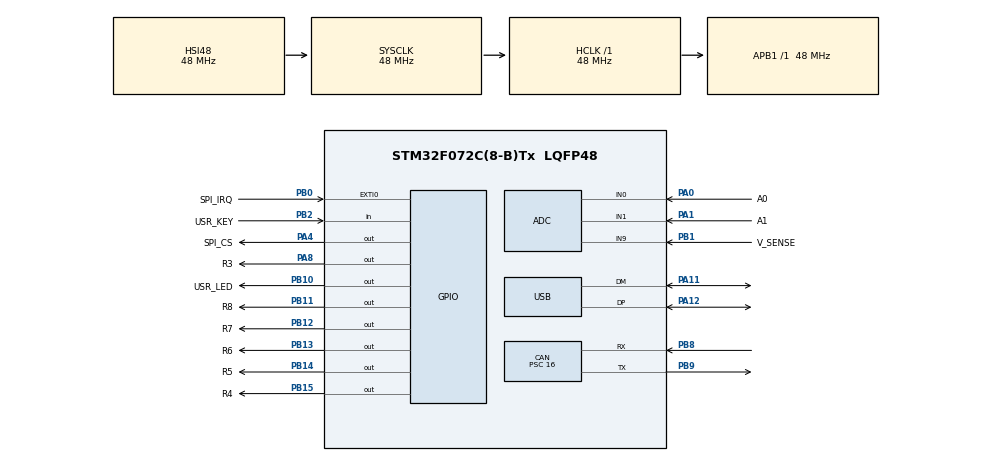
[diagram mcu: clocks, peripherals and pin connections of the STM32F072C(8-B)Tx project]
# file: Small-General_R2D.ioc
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ADC.ContinuousConvMode=DISABLE
CAN.BS1=CAN_BS1_3TQ
CAN.BS2=CAN_BS2_2TQ
CAN.CalculateBaudRate=500000
CAN.CalculateTimeBit=2000
CAN.CalculateTimeQuantum=333.3333333333333
CAN.Mode=CAN_MODE_NORMAL
CAN.Prescaler=16
CAN.TTCM=ENABLE
Mcu.Family=STM32F0
Mcu.Name=STM32F072C(8-B)Tx
Mcu.Package=LQFP48
NVIC.CEC_CAN_IRQn=true\:0\:0\:false\:false\:true\:true\:true\:true
NVIC.USB_IRQn=true\:0\:0\:false\:false\:true\:false\:true\:true
PA0.GPIO_Label=A0
PA0.Mode=IN0
PA0.Signal=ADC_IN0
PA1.GPIO_Label=A1
PA1.Mode=IN1
PA1.Signal=ADC_IN1
PA11.Mode=Device
PA11.Signal=USB_DM
PA12.Mode=Device
PA12.Signal=USB_DP
PA13.Mode=Serial_Wire
PA13.Signal=SYS_SWDIO
PA14.Mode=Serial_Wire
PA14.Signal=SYS_SWCLK
PA4.GPIO_Label=SPI_CS
PA4.GPIO_PuPd=GPIO_PULLUP
PA4.GPIO_Speed=GPIO_SPEED_FREQ_HIGH
PA4.PinState=GPIO_PIN_SET
PA4.Signal=GPIO_Output
PA8.GPIO_Label=R3
PA8.Signal=GPIO_Output
PB0.GPIO_Label=SPI_IRQ
PB0.GPIO_ModeDefaultEXTI=GPIO_MODE_IT_RISING_FALLING
PB0.Signal=GPXTI0
PB1.GPIO_Label=V_SENSE
PB1.Mode=IN9
PB1.Signal=ADC_IN9
PB10.GPIO_Label=USR_LED
PB10.GPIO_ModeDefaultOutputPP=GPIO_MODE_OUTPUT_OD
PB10.GPIO_PuPd=GPIO_NOPULL
PB10.Signal=GPIO_Output
PB11.GPIO_Label=R8
PB11.Signal=GPIO_Output
PB12.GPIO_Label=R7
PB12.Signal=GPIO_Output
PB13.GPIO_Label=R6
PB13.Signal=GPIO_Output
PB14.GPIO_Label=R5
PB14.Signal=GPIO_Output
PB15.GPIO_Label=R4
PB15.Signal=GPIO_Output
PB2.GPIO_Label=USR_KEY
PB2.Signal=GPIO_Input
PB8.Mode=CAN_Activate
PB8.Signal=CAN_RX
PB9.Mode=CAN_Activate
PB9.Signal=CAN_TX
ProjectManager.HeapSize=0x200
ProjectManager.StackSize=0x400
ProjectManager.TargetToolchain=STM32CubeIDE
RCC.AHBFreq_Value=48000000
RCC.APB1Freq_Value=48000000
RCC.APB1TimFreq_Value=48000000
RCC.HCLKFreq_Value=48000000
RCC.SYSCLKFreq_VALUE=48000000
RCC.SYSCLKSource=RCC_SYSCLKSOURCE_HSI48
USB_DEVICE.CLASS_NAME_FS=CDC
USB_DEVICE.MANUFACTURER_STRING=NVF2
USB_DEVICE.PRODUCT_STRING_CDC_FS=Small-General
USB_DEVICE.VirtualMode=Cdc
USB_DEVICE.VirtualModeFS=Cdc_FS
VP_ADC_TempSens_Input.Mode=IN-TempSens
VP_USB_DEVICE_VS_USB_DEVICE_CDC_FS.Mode=CDC_FS
board=custom

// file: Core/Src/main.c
/* USER CODE BEGIN Header */
/**
  ******************************************************************************
  * @file           : main.c
  * @brief          : Main program body
  ******************************************************************************
  * @attention
  *
  * Copyright (c) 2024 STMicroelectronics.
  * All rights reserved.
  *
  * This software is licensed under terms that can be found in the LICENSE file
  * in the root directory of this software component.
  * If no LICENSE file comes with this software, it is provided AS-IS.
  *
  ******************************************************************************
  */
/* USER CODE END Header */
#include "main.h"
#include "usb_device.h"

/* USER CODE BEGIN Includes */

#include  <stdbool.h>
#include "stm32f0xx_hal_can.h"

#include "app_can_impl.h"

/* USER CODE END Includes */

/* USER CODE BEGIN PD */

#define THIS_CAN_ID 		R2DN_DASH_CANID

#define R2D_SW_NC_GPIOPORT	GPIOA
#define R2D_SW_NC_GPIOPIN	13
#define R2D_SW_NO_GPIOPORT	GPIOA
#define R2D_SW_NO_GPIOPIN	12
#define R2D_BTN_NO_GPIOPORT	GPIOA
#define R2D_BTN_NO_GPIOPIN	11

/* USER CODE END PD */

ADC_HandleTypeDef hadc;

CAN_HandleTypeDef hcan;

/* USER CODE BEGIN PV */

CAN_FilterTypeDef sFilterConfig;
CAN_TxHeaderTypeDef txHeader;
uint8_t txData[8];
uint8_t rxData[8];

uint32_t txMailbox;

/* USER CODE END PV */

void SystemClock_Config(void);
static void MX_GPIO_Init(void);
static void MX_ADC_Init(void);
static void MX_CAN_Init(void);

/* USER CODE BEGIN 0 */

bool get_r2d_seq_status(bool* isTriggered, bool* isDeactivated)
{
	bool r2d_sw_nc = HAL_GPIO_ReadPin(R2D_SW_NC_GPIOPORT, R2D_SW_NC_GPIOPIN);
	bool r2d_sw_no = HAL_GPIO_ReadPin(R2D_SW_NO_GPIOPORT, R2D_SW_NO_GPIOPIN);
	bool r2d_btn_no = HAL_GPIO_ReadPin(R2D_BTN_NC_GPIOPORT, R2D_BTN_NC_GPIOPIN);

	bool hasError = (r2d_sw_nc == r2d_sw_no);
	if (hasError)
	{
		&isDeactivated = false;
		&isTriggered = false;
		return false;
	}

//	condition is that NC is closed, NO is open
//	change logic here
	&isDeactivated = (r2d_sw_nc, !r2d_sw_no);

//	can only be triggered on 1 condition
//	change logic here
//	if is !isDeactivated AND button is pressed.
	&isTriggered = (!r2d_sw_nc && r2d_sw_no && !r2d_btn_no);

	return true;
}

bool report_r2d_status()
{
	uint8_t ret = 0;
	bool isTriggered = 0;
	bool isDeactivated = 0;
	bool hasError = get_r2d_seq_status(&isTriggered, &isDeactivated);

	ret |= (hasError << 3);
	ret |= (isDeactivated  << 2);
	ret |= (isTriggered << 1);

	txData[1] = ret;

//	DLC will always be 8, ts is sent
	app_can_tx(&hcan, &txHeader, txData, 8, txMailbox);
}

/* USER CODE END 0 */

int main(void)
{

  /* MCU Configuration--------------------------------------------------------*/

  /* Reset of all peripherals, Initializes the Flash interface and the Systick. */
  HAL_Init();

  /* Configure the system clock */
  SystemClock_Config();

  /* Initialize all configured peripherals */
  MX_GPIO_Init();
  MX_ADC_Init();
  MX_CAN_Init();
  MX_USB_DEVICE_Init();
  /* USER CODE BEGIN 2 */

	//  define our header, this is going to stay the same no matter what
	txHeader.IDE = CAN_ID_STD;
	txHeader.StdId = THIS_CAN_ID;
	txHeader.RTR = CAN_RTR_DATA;
	txHeader.DLC = 8;
	txHeader.TransmitGlobalTime = ENABLE;

  /* USER CODE END 2 */

  /* Infinite loop */
  while (1)
  {

  }
}

void SystemClock_Config(void)
{
  RCC_OscInitTypeDef RCC_OscInitStruct = {0};
  RCC_ClkInitTypeDef RCC_ClkInitStruct = {0};
  RCC_PeriphCLKInitTypeDef PeriphClkInit = {0};

  /** Initializes the RCC Oscillators according to the specified parameters
  * in the RCC_OscInitTypeDef structure.
  */
  RCC_OscInitStruct.OscillatorType = RCC_OSCILLATORTYPE_HSI14|RCC_OSCILLATORTYPE_HSI48;
  RCC_OscInitStruct.HSI48State = RCC_HSI48_ON;
  RCC_OscInitStruct.HSI14State = RCC_HSI14_ON;
  RCC_OscInitStruct.HSI14CalibrationValue = 16;
  RCC_OscInitStruct.PLL.PLLState = RCC_PLL_NONE;
  if (HAL_RCC_OscConfig(&RCC_OscInitStruct) != HAL_OK)
  {
    Error_Handler();
  }

  /** Initializes the CPU, AHB and APB buses clocks
  */
  RCC_ClkInitStruct.ClockType = RCC_CLOCKTYPE_HCLK|RCC_CLOCKTYPE_SYSCLK
                              |RCC_CLOCKTYPE_PCLK1;
  RCC_ClkInitStruct.SYSCLKSource = RCC_SYSCLKSOURCE_HSI48;
  RCC_ClkInitStruct.AHBCLKDivider = RCC_SYSCLK_DIV1;
  RCC_ClkInitStruct.APB1CLKDivider = RCC_HCLK_DIV1;

  if (HAL_RCC_ClockConfig(&RCC_ClkInitStruct, FLASH_LATENCY_1) != HAL_OK)
  {
    Error_Handler();
  }
  PeriphClkInit.PeriphClockSelection = RCC_PERIPHCLK_USB;
  PeriphClkInit.UsbClockSelection = RCC_USBCLKSOURCE_HSI48;

  if (HAL_RCCEx_PeriphCLKConfig(&PeriphClkInit) != HAL_OK)
  {
    Error_Handler();
  }
}

static void MX_ADC_Init(void)
{

  ADC_ChannelConfTypeDef sConfig = {0};

  /** Configure the global features of the ADC (Clock, Resolution, Data Alignment and number of conversion)
  */
  hadc.Instance = ADC1;
  hadc.Init.ClockPrescaler = ADC_CLOCK_ASYNC_DIV1;
  hadc.Init.Resolution = ADC_RESOLUTION_12B;
  hadc.Init.DataAlign = ADC_DATAALIGN_RIGHT;
  hadc.Init.ScanConvMode = ADC_SCAN_DIRECTION_FORWARD;
  hadc.Init.EOCSelection = ADC_EOC_SINGLE_CONV;
  hadc.Init.LowPowerAutoWait = DISABLE;
  hadc.Init.LowPowerAutoPowerOff = DISABLE;
  hadc.Init.ContinuousConvMode = DISABLE;
  hadc.Init.DiscontinuousConvMode = DISABLE;
  hadc.Init.ExternalTrigConv = ADC_SOFTWARE_START;
  hadc.Init.ExternalTrigConvEdge = ADC_EXTERNALTRIGCONVEDGE_NONE;
  hadc.Init.DMAContinuousRequests = DISABLE;
  hadc.Init.Overrun = ADC_OVR_DATA_PRESERVED;
  if (HAL_ADC_Init(&hadc) != HAL_OK)
  {
    Error_Handler();
  }

  /** Configure for the selected ADC regular channel to be converted.
  */
  sConfig.Channel = ADC_CHANNEL_0;
  sConfig.Rank = ADC_RANK_CHANNEL_NUMBER;
  sConfig.SamplingTime = ADC_SAMPLETIME_1CYCLE_5;
  if (HAL_ADC_ConfigChannel(&hadc, &sConfig) != HAL_OK)
  {
    Error_Handler();
  }

  /** Configure for the selected ADC regular channel to be converted.
  */
  sConfig.Channel = ADC_CHANNEL_1;
  if (HAL_ADC_ConfigChannel(&hadc, &sConfig) != HAL_OK)
  {
    Error_Handler();
  }

  /** Configure for the selected ADC regular channel to be converted.
  */
  sConfig.Channel = ADC_CHANNEL_9;
  if (HAL_ADC_ConfigChannel(&hadc, &sConfig) != HAL_OK)
  {
    Error_Handler();
  }

  /** Configure for the selected ADC regular channel to be converted.
  */
  sConfig.Channel = ADC_CHANNEL_TEMPSENSOR;
  if (HAL_ADC_ConfigChannel(&hadc, &sConfig) != HAL_OK)
  {
    Error_Handler();
  }

}

static void MX_CAN_Init(void)
{

  hcan.Instance = CAN;
  hcan.Init.Prescaler = 16;
  hcan.Init.Mode = CAN_MODE_NORMAL;
  hcan.Init.SyncJumpWidth = CAN_SJW_1TQ;
  hcan.Init.TimeSeg1 = CAN_BS1_3TQ;
  hcan.Init.TimeSeg2 = CAN_BS2_2TQ;
  hcan.Init.TimeTriggeredMode = ENABLE;
  hcan.Init.AutoBusOff = DISABLE;
  hcan.Init.AutoWakeUp = DISABLE;
  hcan.Init.AutoRetransmission = DISABLE;
  hcan.Init.ReceiveFifoLocked = DISABLE;
  hcan.Init.TransmitFifoPriority = DISABLE;
  if (HAL_CAN_Init(&hcan) != HAL_OK)
  {
    Error_Handler();
  }

}

static void MX_GPIO_Init(void)
{
  GPIO_InitTypeDef GPIO_InitStruct = {0};

  /* GPIO Ports Clock Enable */
  __HAL_RCC_GPIOC_CLK_ENABLE();
  __HAL_RCC_GPIOF_CLK_ENABLE();
  __HAL_RCC_GPIOA_CLK_ENABLE();
  __HAL_RCC_GPIOB_CLK_ENABLE();

  /*Configure GPIO pin Output Level */
  HAL_GPIO_WritePin(SPI_CS_GPIO_Port, SPI_CS_Pin, GPIO_PIN_SET);

  /*Configure GPIO pin Output Level */
  HAL_GPIO_WritePin(GPIOB, USR_LED_Pin|R8_Pin|R7_Pin|R6_Pin
                          |R5_Pin|R4_Pin, GPIO_PIN_RESET);

  /*Configure GPIO pin Output Level */
  HAL_GPIO_WritePin(R3_GPIO_Port, R3_Pin, GPIO_PIN_RESET);

  /*Configure GPIO pins : PC13 PC14 PC15 */
  GPIO_InitStruct.Pin = GPIO_PIN_13|GPIO_PIN_14|GPIO_PIN_15;
  GPIO_InitStruct.Mode = GPIO_MODE_ANALOG;
  GPIO_InitStruct.Pull = GPIO_NOPULL;
  HAL_GPIO_Init(GPIOC, &GPIO_InitStruct);

  /*Configure GPIO pins : PF0 PF1 */
  GPIO_InitStruct.Pin = GPIO_PIN_0|GPIO_PIN_1;
  GPIO_InitStruct.Mode = GPIO_MODE_ANALOG;
  GPIO_InitStruct.Pull = GPIO_NOPULL;
  HAL_GPIO_Init(GPIOF, &GPIO_InitStruct);

  /*Configure GPIO pins : PA2 PA3 PA5 PA6
                           PA7 PA9 PA10 PA15 */
  GPIO_InitStruct.Pin = GPIO_PIN_2|GPIO_PIN_3|GPIO_PIN_5|GPIO_PIN_6
                          |GPIO_PIN_7|GPIO_PIN_9|GPIO_PIN_10|GPIO_PIN_15;
  GPIO_InitStruct.Mode = GPIO_MODE_ANALOG;
  GPIO_InitStruct.Pull = GPIO_NOPULL;
  HAL_GPIO_Init(GPIOA, &GPIO_InitStruct);

  /*Configure GPIO pin : SPI_CS_Pin */
  GPIO_InitStruct.Pin = SPI_CS_Pin;
  GPIO_InitStruct.Mode = GPIO_MODE_OUTPUT_PP;
  GPIO_InitStruct.Pull = GPIO_PULLUP;
  GPIO_InitStruct.Speed = GPIO_SPEED_FREQ_HIGH;
  HAL_GPIO_Init(SPI_CS_GPIO_Port, &GPIO_InitStruct);

  /*Configure GPIO pin : SPI_IRQ_Pin */
  GPIO_InitStruct.Pin = SPI_IRQ_Pin;
  GPIO_InitStruct.Mode = GPIO_MODE_IT_RISING_FALLING;
  GPIO_InitStruct.Pull = GPIO_NOPULL;
  HAL_GPIO_Init(SPI_IRQ_GPIO_Port, &GPIO_InitStruct);

  /*Configure GPIO pin : USR_KEY_Pin */
  GPIO_InitStruct.Pin = USR_KEY_Pin;
  GPIO_InitStruct.Mode = GPIO_MODE_INPUT;
  GPIO_InitStruct.Pull = GPIO_NOPULL;
  HAL_GPIO_Init(USR_KEY_GPIO_Port, &GPIO_InitStruct);

  /*Configure GPIO pin : USR_LED_Pin */
  GPIO_InitStruct.Pin = USR_LED_Pin;
  GPIO_InitStruct.Mode = GPIO_MODE_OUTPUT_OD;
  GPIO_InitStruct.Pull = GPIO_NOPULL;
  GPIO_InitStruct.Speed = GPIO_SPEED_FREQ_LOW;
  HAL_GPIO_Init(USR_LED_GPIO_Port, &GPIO_InitStruct);

  /*Configure GPIO pins : R8_Pin R7_Pin R6_Pin R5_Pin
                           R4_Pin */
  GPIO_InitStruct.Pin = R8_Pin|R7_Pin|R6_Pin|R5_Pin
                          |R4_Pin;
  GPIO_InitStruct.Mode = GPIO_MODE_OUTPUT_PP;
  GPIO_InitStruct.Pull = GPIO_NOPULL;
  GPIO_InitStruct.Speed = GPIO_SPEED_FREQ_LOW;
  HAL_GPIO_Init(GPIOB, &GPIO_InitStruct);

  /*Configure GPIO pin : R3_Pin */
  GPIO_InitStruct.Pin = R3_Pin;
  GPIO_InitStruct.Mode = GPIO_MODE_OUTPUT_PP;
  GPIO_InitStruct.Pull = GPIO_NOPULL;
  GPIO_InitStruct.Speed = GPIO_SPEED_FREQ_LOW;
  HAL_GPIO_Init(R3_GPIO_Port, &GPIO_InitStruct);

  /*Configure GPIO pins : PB3 PB4 PB5 PB6
                           PB7 */
  GPIO_InitStruct.Pin = GPIO_PIN_3|GPIO_PIN_4|GPIO_PIN_5|GPIO_PIN_6
                          |GPIO_PIN_7;
  GPIO_InitStruct.Mode = GPIO_MODE_ANALOG;
  GPIO_InitStruct.Pull = GPIO_NOPULL;
  HAL_GPIO_Init(GPIOB, &GPIO_InitStruct);

}

void Error_Handler(void)
{
  __disable_irq();
  while (1)
  {
  }
}
